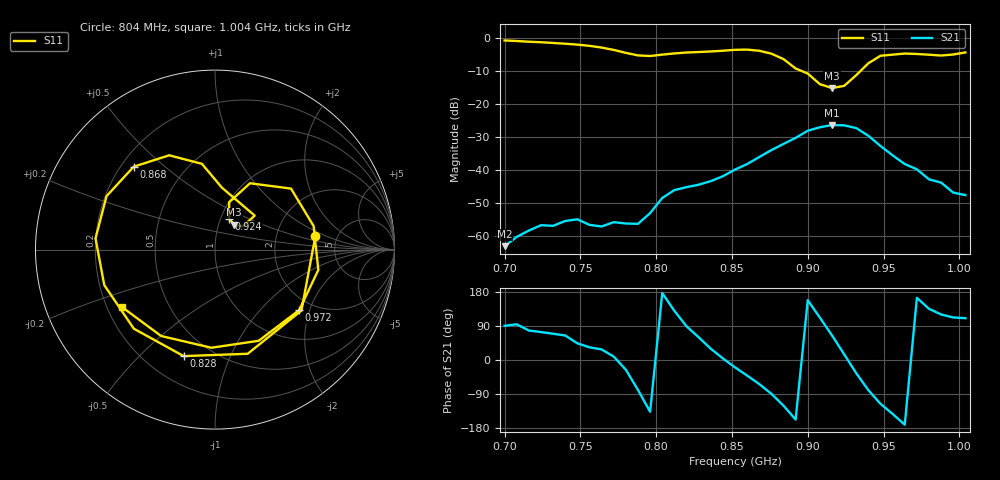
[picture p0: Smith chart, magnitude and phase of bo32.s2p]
# Hz S RI R 50
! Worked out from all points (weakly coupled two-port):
!   39 points, 700 MHz to 1.004 GHz, reference 50 ohm
!   highest |S21| = -26.39 dB at 916 MHz (marker M1); lowest = -63.2 dB at 700 MHz (marker M2)
!   lowest |S11| = -15.1 dB at 916 MHz (marker M3), VSWR 1.42, Z = 59.3 + j17 ohm
!   |S11| at or under -10 dB: 896.3 MHz to 934.6 MHz (38.37 MHz wide, 4.19 % of centre)
!   S12 and S22 are empty: the file has one direction only
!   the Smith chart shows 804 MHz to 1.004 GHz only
!   S11 on the Smith chart (normalised r, x): 804 MHz: 3.40, +0.78; 828 MHz: 0.36, -0.69; 868 MHz: 0.25, +0.40; 924 MHz: 1.10, +0.39; 972 MHz: 1.69, -1.71; 1.004 GHz: 0.26, -0.26
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7e8  0.7643 0.5264  -4.56e-06 0.00069  0 0  0 0
7.24e8  0.8302 -0.2665  0.000402 0.00138  0 0  0 0
7.4e8  0.4369 -0.7031  0.000713 0.00151  0 0  0 0
7.56e8  -0.2048 -0.7408  0.00121 0.000802  0 0  0 0
7.72e8  -0.6456 -0.1662  0.00158 0.000249  0 0  0 0
7.8e8  -0.547 0.2486  0.00137 -0.000663  0 0  0 0
7.88e8  -0.1779 0.5203  0.000283 -0.00148  0 0  0 0
7.96e8  0.2881 0.4546  -0.0016 -0.00151  0 0  0 0
8.04e8  0.5598 0.0781  -0.00372 0.000221  0 0  0 0
8.2e8  0.1823 -0.5804  8.89e-05 0.00545  0 0  0 0
8.28e8  -0.1744 -0.5934  0.00295 0.00514  0 0  0 0
8.52e8  -0.6657 0.0623  0.00951 -0.00334  0 0  0 0
8.68e8  -0.4533 0.4617  0.00698 -0.014  0 0  0 0
9e8  0.2214 0.1893  -0.0364 0.0148  0 0  0 0
9.08e8  0.1539 0.1291  -0.0165 0.0412  0 0  0 0
9.16e8  0.107 0.1388  0.0203 0.0434  0 0  0 0
9.24e8  0.0787 0.1719  0.0458 0.0124  0 0  0 0
9.4e8  0.195 0.3696  0.00595 -0.0324  0 0  0 0
9.56e8  0.5496 0.1309  -0.0131 -0.0101  0 0  0 0
9.72e8  0.4694 -0.337  -0.00979 0.0028  0 0  0 0
9.88e8  -0.0202 -0.5468  -0.00321 0.00552  0 0  0 0
1.004e9  -0.5207 -0.3183  -0.00144 0.00387  0 0  0 0
